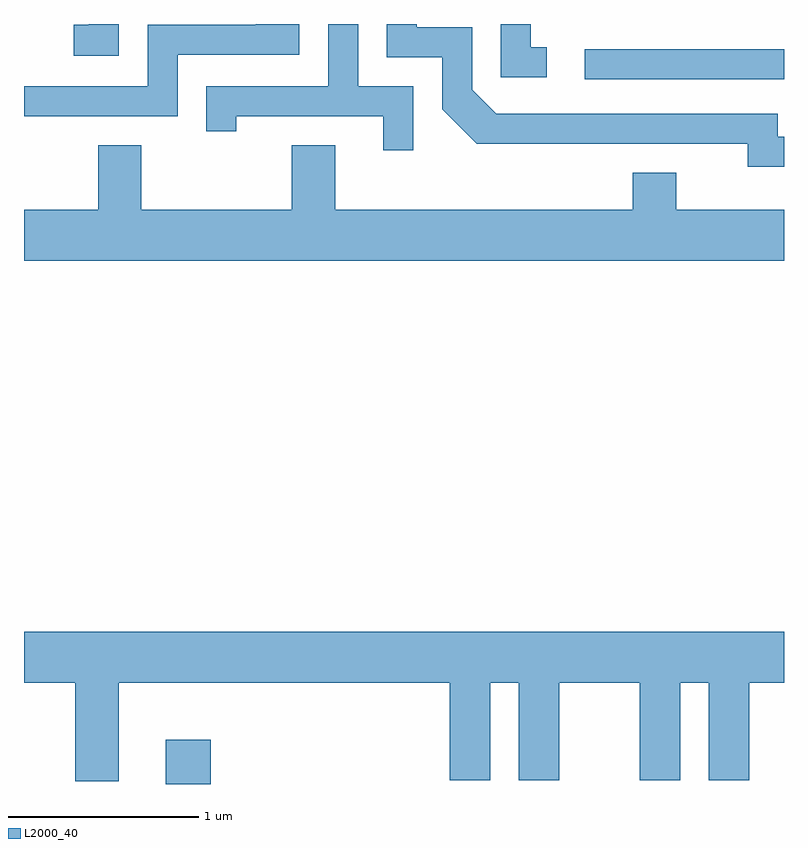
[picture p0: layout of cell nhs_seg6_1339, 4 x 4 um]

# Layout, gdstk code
import gdstk
lib = gdstk.Library(unit=1e-6, precision=1e-09)
def R(c, l, rs):  # rectangles x0, y0, x1, y1
    for r in rs: c.add(gdstk.rectangle(r[:2], r[2:], *l))
def P(c, l, *ps):  # polygons
    for p in ps: c.add(gdstk.Polygon(p, *l))
L2000_40 = (2000, 40)

nhs_seg6_1339 = lib.new_cell('nhs_seg6_1339')
R(nhs_seg6_1339, L2000_40, [(226.356,1556.162,226.594,1556.394), (228.563,1559.871,229.611,1560.029)])
P(nhs_seg6_1339, L2000_40, [(226.109,1560.162),(225.951,1560.162),(225.951,1560.159),(225.873,1560.159),(225.873,1559.996),(226.109,1559.996)],
  [(227.659,1559.834),(227.369,1559.834),(227.369,1560.162),(227.211,1560.162),(227.211,1559.834),(226.571,1559.834),(226.571,1559.598),(226.729,1559.598),(226.729,1559.676),(227.501,1559.676),(227.501,1559.498),(227.659,1559.498)],
  [(229.611,1559.569),(229.579,1559.569),(229.579,1559.689),(228.097,1559.689),(227.969,1559.817),(227.969,1560.144),(227.679,1560.144),(227.679,1560.162),(227.521,1560.162),(227.521,1559.986),(227.811,1559.986),(227.811,1559.714),(227.994,1559.531),(229.421,1559.531),(229.421,1559.411),(229.611,1559.411)],
  [(226.419,1560.001),(227.059,1560.001),(227.059,1560.162),(226.831,1560.162),(226.831,1560.159),(226.261,1560.159),(226.261,1559.834),(225.611,1559.834),(225.611,1559.676),(226.419,1559.676)],
  [(228.363,1560.039),(228.279,1560.039),(228.279,1560.162),(228.121,1560.162),(228.121,1559.881),(228.363,1559.881)],
  [(229.611,1559.184),(229.044,1559.184),(229.044,1559.379),(228.816,1559.379),(228.816,1559.184),(227.249,1559.184),(227.249,1559.524),(227.021,1559.524),(227.021,1559.184),(226.229,1559.184),(226.229,1559.524),(226.001,1559.524),(226.001,1559.184),(225.611,1559.184),(225.611,1558.916),(229.611,1558.916)],
  [(226.109,1556.696),(227.851,1556.696),(227.851,1556.181),(228.064,1556.181),(228.064,1556.696),(228.216,1556.696),(228.216,1556.181),(228.429,1556.181),(228.429,1556.696),(228.851,1556.696),(228.851,1556.181),(229.064,1556.181),(229.064,1556.696),(229.216,1556.696),(229.216,1556.181),(229.429,1556.181),(229.429,1556.696),(229.611,1556.696),(229.611,1556.964),(225.611,1556.964),(225.611,1556.696),(225.881,1556.696),(225.881,1556.176),(226.109,1556.176)])

lib.write_gds('nhs_seg6_1339.gds')
